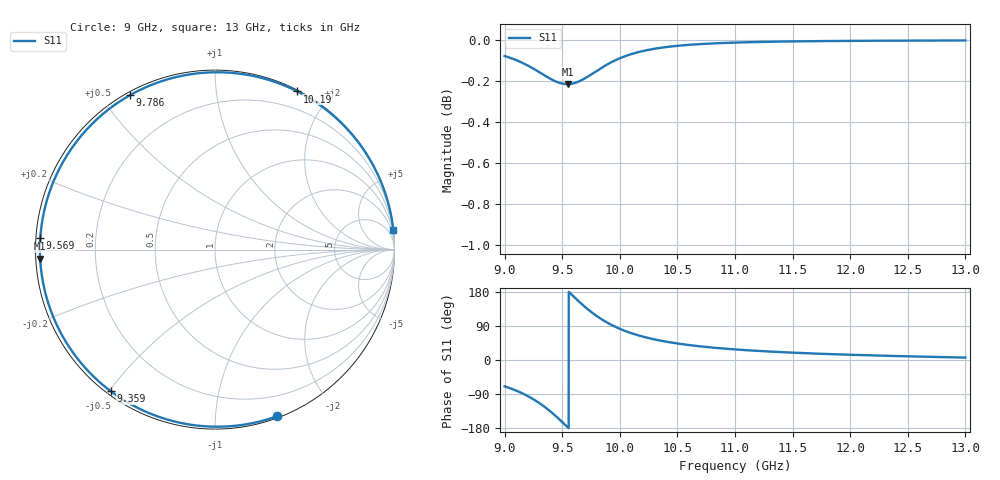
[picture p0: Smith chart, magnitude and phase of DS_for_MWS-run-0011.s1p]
! TOUCHSTONE file generated by CST DESIGN STUDIO
! Date and time: Tue Feb  4 13:44:15 2025
! Project name: C:\Work\MatlabApps\UnitCellOptimizationMatlab\CST\unitcell.cst
! Tree item: Tasks\Sweep1\SPara1\S-Parameters
! Header version: 2024
! Port assignment regex: !\s*Touchstone port\s*([0-9]+)\s*=\s*(CST MWS port|CST DES external port|CST DES block port)\s*(.+)\s* \(\"(.*)\"\)(\s*mode\s*([0-9]+))?.*
! Touchstone port assignment:
! Touchstone port 1 = CST DES external port 1 ("")
# GHz S MA R 50
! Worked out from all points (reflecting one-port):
!   4001 points, 9 GHz to 13 GHz, reference 50 ohm
!   lowest |S11| = -0.2 dB at 9.546 GHz (marker M1), VSWR 80.34, Z = 0.623 - j1.29 ohm
!   phase of S11 starts at -69 deg and turns -284 deg over the sweep
!   S11 on the Smith chart (normalised r, x): 9 GHz: 0.01, -1.44; 9.359 GHz: 0.01, -0.51; 9.569 GHz: 0.01, +0.03; 9.786 GHz: 0.01, +0.59; 10.19 GHz: 0.01, +1.65; 13 GHz: 0, +18
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9  0.9909 -69.5
9.103  0.9885 -81.1
9.213  0.9852 -97.2
9.29  0.9824 -111.3
9.359  0.9797 -126.4
9.427  0.9774 -143.4
9.465  0.9764 -153.8
9.5  0.9757 -163.7
9.546  0.9754 -177.0
9.569  0.9755 176.2
9.624  0.9763 160.3
9.685  0.9781 143.5
9.735  0.9801 130.8
9.786  0.9821 119.0
9.832  0.984 109.4
9.882  0.9859 100.1
9.937  0.9878 91.2
10  0.9896 82.3
10.092  0.9918 71.6
10.191  0.9935 62.5
10.333  0.9953 52.4
10.5  0.9966 43.6
10.721  0.9976 35.3
11  0.9984 27.9
11.5  0.999 19.4
12  0.9993 13.8
12.5  0.9995 9.7
13  0.9996 6.4
